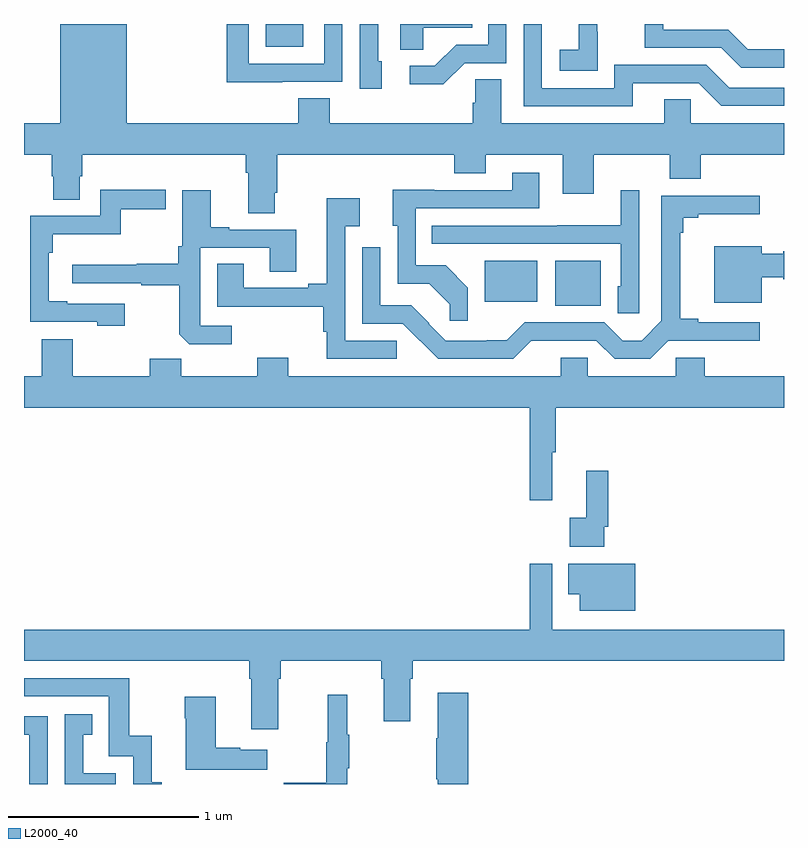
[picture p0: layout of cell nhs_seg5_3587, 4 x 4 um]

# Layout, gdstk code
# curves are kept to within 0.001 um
import gdstk
lib = gdstk.Library(unit=1e-6, precision=1e-09)
def R(c, l, rs):  # rectangles x0, y0, x1, y1
    for r in rs: c.add(gdstk.rectangle(r[:2], r[2:], *l))
def P(c, l, *ps):  # polygons
    for p in ps: c.add(gdstk.Polygon(p, *l))
L2000_40 = (2000, 40)

nhs_seg5_3587 = lib.new_cell('nhs_seg5_3587')
R(nhs_seg5_3587, L2000_40, [(325.796,837.317,326.035,837.553), (325.424,837.338,325.702,837.553), (324.272,838.679,324.469,838.799)])
P(nhs_seg5_3587, L2000_40, [(324.883,838.602),(324.864,838.602),(324.864,838.799),(324.768,838.799),(324.768,838.458),(324.883,838.458)],
  [(327,838.666),(326.81,838.666),(326.706,838.77),(326.364,838.77),(326.364,838.799),(326.266,838.799),(326.266,838.674),(326.669,838.674),(326.774,838.569),(327,838.569)],
  [(325.32,838.593),(325.539,838.593),(325.539,838.799),(325.443,838.799),(325.443,838.689),(325.274,838.689),(325.163,838.578),(325.029,838.578),(325.029,838.481),(325.207,838.481)],
  [(326.019,838.759),(326.018,838.759),(326.018,838.799),(325.919,838.799),(325.919,838.663),(325.821,838.663),(325.821,838.553),(326.019,838.553)],
  [(325.101,838.778),(325.358,838.778),(325.358,838.799),(324.98,838.799),(324.98,838.663),(325.101,838.663)],
  [(323,838.112),(323.146,838.112),(323.146,837.999),(323.153,837.999),(323.153,837.874),(323.293,837.874),(323.293,837.999),(323.306,837.999),(323.306,838.112),(324.167,838.112),(324.167,838.016),(324.179,838.016),(324.179,837.802),(324.319,837.802),(324.319,837.91),(324.332,837.91),(324.332,838.112),(325.265,838.112),(325.265,838.013),(325.429,838.013),(325.429,838.112),(325.835,838.112),(325.835,837.906),(325.999,837.906),(325.999,838.112),(326.399,838.112),(326.399,837.984),(326.563,837.984),(326.563,838.112),(327,838.112),(327,838.276),(326.508,838.276),(326.508,838.403),(326.369,838.403),(326.369,838.276),(325.513,838.276),(325.513,838.508),(325.374,838.508),(325.374,838.385),(325.361,838.385),(325.361,838.276),(324.608,838.276),(324.608,838.409),(324.443,838.409),(324.443,838.276),(323.542,838.276),(323.542,838.799),(323.192,838.799),(323.192,838.276),(323,838.276)],
  [(326.203,838.488),(326.55,838.488),(326.67,838.368),(327,838.368),(327,838.464),(326.712,838.464),(326.592,838.584),(326.106,838.584),(326.106,838.461),(325.725,838.461),(325.725,838.799),(325.629,838.799),(325.629,838.365),(326.203,838.365)],
  [(324.359,838.494),(324.675,838.494),(324.675,838.799),(324.579,838.799),(324.579,838.59),(324.183,838.59),(324.183,838.799),(324.067,838.799),(324.067,838.493),(324.359,838.493)],
  [(325.335,837.412),(325.219,837.528),(325.062,837.528),(325.062,837.828),(325.711,837.828),(325.711,838.015),(325.571,838.015),(325.571,837.924),(325.159,837.924),(325.159,837.926),(324.941,837.926),(324.941,837.738),(324.966,837.738),(324.966,837.432),(325.132,837.432),(325.24,837.324),(325.24,837.237),(325.335,837.237)],
  [(323.53,837.327),(323.227,837.327),(323.227,837.34),(323.13,837.34),(323.13,837.596),(323.15,837.596),(323.15,837.692),(323.509,837.692),(323.509,837.823),(323.746,837.823),(323.746,837.926),(323.4,837.926),(323.4,837.789),(323.034,837.789),(323.034,837.231),(323.385,837.231),(323.385,837.212),(323.53,837.212)],
  [(324.094,837.21),(323.928,837.21),(323.928,837.621),(324.293,837.621),(324.293,837.496),(324.433,837.496),(324.433,837.717),(324.079,837.717),(324.079,837.73),(323.983,837.73),(323.983,837.925),(323.832,837.925),(323.832,837.628),(323.812,837.628),(323.812,837.536),(323.593,837.536),(323.593,837.532),(323.253,837.532),(323.253,837.435),(323.617,837.435),(323.617,837.423),(323.817,837.423),(323.817,837.165),(323.869,837.114),(324.094,837.114)],
  [(326.238,837.925),(326.141,837.925),(326.141,837.739),(325.807,837.739),(325.807,837.738),(325.147,837.738),(325.147,837.642),(326.142,837.642),(326.142,837.42),(326.126,837.42),(326.126,837.277),(326.238,837.277)],
  [(325.67,837.131),(326.013,837.132),(326.109,837.036),(326.296,837.036),(326.392,837.132),(326.872,837.131),(326.872,837.228),(326.548,837.228),(326.548,837.248),(326.453,837.248),(326.453,837.701),(326.471,837.701),(326.471,837.778),(326.548,837.778),(326.548,837.797),(326.872,837.797),(326.872,837.896),(326.659,837.896),(326.659,837.894),(326.355,837.894),(326.355,837.237),(326.251,837.133),(326.15,837.133),(326.055,837.228),(325.635,837.228),(325.541,837.134),(325.436,837.134),(325.436,837.132),(325.221,837.132),(325.131,837.222),(325.133,837.224),(325.039,837.318),(324.876,837.318),(324.876,837.625),(324.78,837.625),(324.78,837.222),(324.993,837.222),(325.181,837.036),(325.575,837.036)],
  [(324.963,837.132),(324.69,837.132),(324.69,837.734),(324.766,837.734),(324.766,837.883),(324.593,837.883),(324.593,837.431),(324.497,837.431),(324.497,837.411),(324.157,837.411),(324.157,837.536),(324.017,837.536),(324.017,837.31),(324.574,837.31),(324.574,837.179),(324.593,837.179),(324.593,837.036),(324.963,837.036)],
  [(326.884,837.467),(326.997,837.467),(326.997,837.455),(327,837.455),(327,837.602),(326.997,837.602),(326.997,837.589),(326.884,837.589),(326.884,837.628),(326.633,837.628),(326.633,837.332),(326.884,837.332)],
  [(325.781,836.544),(325.799,836.544),(325.799,836.78),(327,836.78),(327,836.944),(326.582,836.944),(326.582,837.042),(326.43,837.042),(326.43,836.944),(325.968,836.944),(325.968,837.042),(325.826,837.042),(325.826,836.944),(324.391,836.944),(324.391,837.043),(324.227,837.043),(324.227,836.944),(323.827,836.944),(323.827,837.037),(323.663,837.037),(323.663,836.944),(323.257,836.944),(323.257,837.139),(323.093,837.139),(323.093,836.944),(323,836.944),(323,836.78),(325.663,836.78),(325.663,836.292),(325.781,836.292)],
  [(326.055,836.152),(326.075,836.152),(326.075,836.449),(325.958,836.449),(325.958,836.201),(325.872,836.201),(325.872,836.048),(326.055,836.048)],
  [(324.337,835.352),(324.35,835.352),(324.35,835.448),(324.881,835.448),(324.881,835.352),(324.893,835.352),(324.893,835.128),(325.033,835.128),(325.033,835.352),(325.046,835.352),(325.046,835.448),(327,835.448),(327,835.612),(325.779,835.612),(325.779,835.957),(325.663,835.957),(325.663,835.612),(323,835.612),(323,835.448),(324.185,835.448),(324.185,835.352),(324.197,835.352),(324.197,835.086),(324.337,835.086)],
  [(326.218,835.957),(325.864,835.957),(325.864,835.799),(325.925,835.799),(325.925,835.712),(326.218,835.712)],
  [(323.725,834.807),(323.672,834.807),(323.672,835.054),(323.554,835.054),(323.554,835.356),(323,835.356),(323,835.26),(323.445,835.26),(323.445,834.945),(323.574,834.945),(323.574,834.799),(323.725,834.799)],
  [(325.337,835.279),(325.178,835.279),(325.178,835.04),(325.171,835.04),(325.171,834.823),(325.178,834.823),(325.178,834.799),(325.337,834.799)],
  [(324.701,834.883),(324.712,834.883),(324.712,835.057),(324.701,835.057),(324.701,835.27),(324.598,835.27),(324.598,835.02),(324.591,835.02),(324.591,834.806),(324.367,834.806),(324.367,834.799),(324.701,834.799)],
  [(324.28,834.979),(324.137,834.979),(324.137,834.989),(324.01,834.989),(324.01,835.258),(323.845,835.258),(323.845,835.145),(323.852,835.145),(323.852,834.875),(324.28,834.875)],
  [(323.484,834.855),(323.311,834.855),(323.311,835.059),(323.36,835.059),(323.36,835.165),(323.214,835.165),(323.214,834.799),(323.484,834.799)],
  [(323.124,835.155),(323,835.155),(323,835.058),(323.028,835.058),(323.028,834.799),(323.124,834.799)])

lib.write_gds('nhs_seg5_3587.gds')
